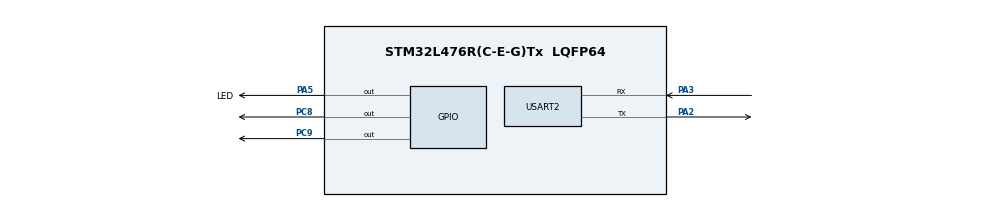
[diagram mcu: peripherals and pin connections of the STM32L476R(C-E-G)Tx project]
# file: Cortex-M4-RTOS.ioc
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Mcu.Family=STM32L4
Mcu.Name=STM32L476R(C-E-G)Tx
Mcu.Package=LQFP64
NVIC.PriorityGroup=NVIC_PRIORITYGROUP_4
PA13\ (JTMS-SWDIO).Mode=Serial_Wire
PA13\ (JTMS-SWDIO).Signal=SYS_JTMS-SWDIO
PA14\ (JTCK-SWCLK).Mode=Serial_Wire
PA14\ (JTCK-SWCLK).Signal=SYS_JTCK-SWCLK
PA2.Mode=Asynchronous
PA2.Signal=USART2_TX
PA3.Mode=Asynchronous
PA3.Signal=USART2_RX
PA5.GPIO_Label=LED
PA5.Signal=GPIO_Output
PC8.Signal=GPIO_Output
PC9.Signal=GPIO_Output
ProjectManager.HeapSize=0x200
ProjectManager.StackSize=0x400
ProjectManager.TargetToolchain=CMake
RCC.ADCFreq_Value=64000000
RCC.AHBFreq_Value=80000000
RCC.APB1Freq_Value=80000000
RCC.APB1TimFreq_Value=80000000
RCC.APB2Freq_Value=80000000
RCC.APB2TimFreq_Value=80000000
RCC.CortexFreq_Value=80000000
RCC.HCLKFreq_Value=80000000
RCC.HSE_VALUE=8000000
RCC.HSI_VALUE=16000000
RCC.LSE_VALUE=32768
RCC.MSI_VALUE=4000000
RCC.PLLN=10
RCC.PLLSourceVirtual=RCC_PLLSOURCE_HSI
RCC.SYSCLKFreq_VALUE=80000000
RCC.SYSCLKSource=RCC_SYSCLKSOURCE_PLLCLK
RCC.USBFreq_Value=64000000
RCC.VCOOutputFreq_Value=160000000
USART2.VirtualMode-Asynchronous=VM_ASYNC
board=custom

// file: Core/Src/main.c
/* USER CODE BEGIN Header */
/**
  ******************************************************************************
  * @file           : main.c
  * @brief          : Main program body
  ******************************************************************************
  * @attention
  *
  * Copyright (c) 2026 STMicroelectronics.
  * All rights reserved.
  *
  * This software is licensed under terms that can be found in the LICENSE file
  * in the root directory of this software component.
  * If no LICENSE file comes with this software, it is provided AS-IS.
  *
  ******************************************************************************
  */
/* USER CODE END Header */
#include "main.h"
#include "usart.h"
#include "gpio.h"

/* USER CODE BEGIN Includes */
#include "stm32l4xx_ll_gpio.h"
#include <stdint.h>
#include "port.h"
#include "task.h"
#include "scheduler.h"

#include "queue.h"

#ifdef OS_TARGET_TESTS
#include "target_tests.h"
#endif
/* USER CODE END Includes */

/* USER CODE BEGIN PD */
#define TASK_STACK_SIZE 256
/* USER CODE END PD */

void SystemClock_Config(void);

/* USER CODE BEGIN 0 */

OS_Queue_t queue1;
uint32_t buffer[3];

__attribute__((aligned(8)))
uint32_t task_1_stack[TASK_STACK_SIZE];

OSThread thread1;

__attribute__((used, noinline))
void blink_LED_slow() {
  uint32_t counter = 0;
  // uint32_t counter2 = 1;
  for (;;) {
    // LL_GPIO_TogglePin(GPIOA, LL_GPIO_PIN_5);
    // OS_Delay(3);
    counter++;
    // counter2++;
    OS_Queue_PutItem(&queue1, &counter);
    // OS_Queue_PutItem(&queue1, &counter2);
    LL_GPIO_TogglePin(GPIOA, LL_GPIO_PIN_5);
  }
}

__attribute__((aligned(8)))
uint32_t task_2_stack[TASK_STACK_SIZE];

OSThread thread2;

__attribute__((used, noinline))
void blink_LED_fast() {
  uint32_t expected = 1;
  uint32_t received = 0;

  for (;;) {
    // LL_GPIO_TogglePin(GPIOC, LL_GPIO_PIN_8);
    // OS_Delay(2);
    OS_Queue_GetItem(&queue1, &received);
    if (received == expected) {
      expected++;
      LL_GPIO_TogglePin(GPIOC, LL_GPIO_PIN_8);
    }else {
      OS_Port_DisableInterrupts();
      OS_Port_Breakpoint();
      while (1) {}
    }
    OS_Delay(4);
  }
}

/* USER CODE END 0 */

int main(void)
{

  /* MCU Configuration--------------------------------------------------------*/

  /* Reset of all peripherals, Initializes the Flash interface and the Systick. */
  LL_APB2_GRP1_EnableClock(LL_APB2_GRP1_PERIPH_SYSCFG);
  LL_APB1_GRP1_EnableClock(LL_APB1_GRP1_PERIPH_PWR);

  /* System interrupt init*/
  NVIC_SetPriorityGrouping(NVIC_PRIORITYGROUP_4);

  /* SysTick_IRQn interrupt configuration */
  NVIC_SetPriority(SysTick_IRQn, NVIC_EncodePriority(NVIC_GetPriorityGrouping(),15, 0)); // OS_Init sets SysTick interrupt priority

  /* Configure the system clock */
  SystemClock_Config();

  /* Initialize all configured peripherals */
  MX_GPIO_Init();
  MX_USART2_UART_Init();
  /* USER CODE BEGIN 2 */

  #ifdef OS_TARGET_TESTS
  OS_TargetTests_Run();
  #endif

  OS_Queue_Init(&queue1, buffer, 3, sizeof(uint32_t));

  OS_Init();

  OS_Thread_Create(&thread1, &blink_LED_slow, 2, task_1_stack, sizeof(task_1_stack));
  OS_Thread_Create(&thread2, &blink_LED_fast, 1, task_2_stack, sizeof(task_2_stack));

  OS_Start();

  /* USER CODE END 2 */

  /* Infinite loop */
  while (1)
  {

  }
}

void SystemClock_Config(void)
{
  LL_FLASH_SetLatency(LL_FLASH_LATENCY_4);
  while(LL_FLASH_GetLatency()!= LL_FLASH_LATENCY_4)
  {
  }
  LL_PWR_SetRegulVoltageScaling(LL_PWR_REGU_VOLTAGE_SCALE1);
  while (LL_PWR_IsActiveFlag_VOS() != 0)
  {
  }
  LL_RCC_HSI_Enable();

   /* Wait till HSI is ready */
  while(LL_RCC_HSI_IsReady() != 1)
  {

  }
  LL_RCC_HSI_SetCalibTrimming(16);
  LL_RCC_PLL_ConfigDomain_SYS(LL_RCC_PLLSOURCE_HSI, LL_RCC_PLLM_DIV_1, 10, LL_RCC_PLLR_DIV_2);
  LL_RCC_PLL_EnableDomain_SYS();
  LL_RCC_PLL_Enable();

   /* Wait till PLL is ready */
  while(LL_RCC_PLL_IsReady() != 1)
  {

  }
  LL_RCC_SetSysClkSource(LL_RCC_SYS_CLKSOURCE_PLL);

   /* Wait till System clock is ready */
  while(LL_RCC_GetSysClkSource() != LL_RCC_SYS_CLKSOURCE_STATUS_PLL)
  {

  }
  LL_RCC_SetAHBPrescaler(LL_RCC_SYSCLK_DIV_1);
  LL_RCC_SetAPB1Prescaler(LL_RCC_APB1_DIV_1);
  LL_RCC_SetAPB2Prescaler(LL_RCC_APB2_DIV_1);

  LL_Init1msTick(80000000);

  LL_SetSystemCoreClock(80000000);
}

void Error_Handler(void)
{
  __disable_irq();
  while (1)
  {
  }
}
